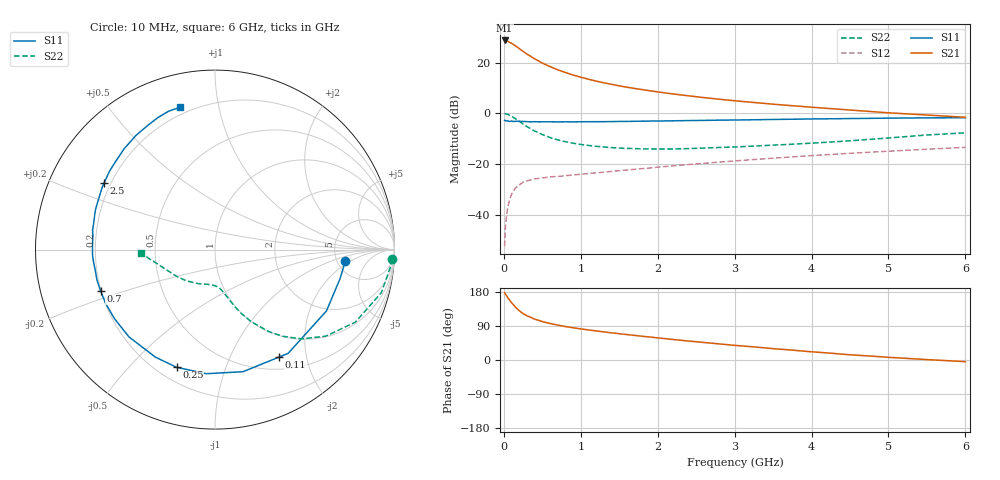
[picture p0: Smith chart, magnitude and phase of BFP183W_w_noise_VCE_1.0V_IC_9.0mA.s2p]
! Infineon Technologies  Discrete & RF Semiconductors
! BFP183W
! VCE =  1.0 V,  IC =  9.0 mA
! Common Emitter S-Parameters:  Jan 2017
# GHz  S  MA  R  50
!  f  S11  S21  S12  S22
! GHz  MAG  ANG  MAG  ANG  MAG  ANG  MAG  ANG
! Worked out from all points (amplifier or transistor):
!   77 points, 10 MHz to 6 GHz, reference 50 ohm
!   highest |S21| = 28.7 dB at 10 MHz (marker M1)
!   |S21| within 3 dB of that: start of sweep to 191 MHz
!   unconditionally stable (mu >= 1): 1.578 GHz to 4.961 GHz
!   at 130 MHz: K = 0.14, MSG = 28.7 dB, |S12| = -30.4 dB
!   at 2.2 GHz: K = 1.09, MAG = 12.4 dB, |S12| = -20.7 dB
!   at 6 GHz: K = 0.94, MSG = 5.9 dB, |S12| = -13.4 dB
!   lowest NFmin = 0.90 dB at 450 MHz
!   S11 on the Smith chart (normalised r, x): 10 MHz: 5.89, -1.66; 110 MHz: 0.67, -1.55; 250 MHz: 0.28, -0.69; 700 MHz: 0.20, -0.17; 2.5 GHz: 0.17, +0.27; 6 GHz: 0.16, +0.77
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0.01  0.7286 -5.2  27.25 178.0  0.0024 89.0  0.989 -3.0
0.02  0.7154 -13.0  26.95 174.0  0.0054 87.3  0.9809 -6.0
0.05  0.7088 -28.8  26.22 164.9  0.0137 77.2  0.9576 -14.5
0.1  0.7073 -54.8  24.05 151.0  0.0253 65.6  0.8798 -27.4
0.11  0.697 -59.2  23.46 148.9  0.0269 63.2  0.8583 -29.3
0.15  0.698 -77.1  21.44 139.5  0.0335 56.1  0.7831 -38.0
0.2  0.6931 -94.0  18.85 130.1  0.0387 49.8  0.6928 -45.9
0.25  0.6897 -108.1  16.61 122.5  0.0439 43.9  0.6129 -52.0
0.3  0.685 -119.0  14.68 116.7  0.0464 40.3  0.5456 -56.8
0.4  0.6829 -134.6  11.83 107.8  0.0508 36.6  0.4473 -63.5
0.5  0.6796 -145.5  9.781 101.5  0.053 34.6  0.3805 -67.9
0.6  0.6792 -153.7  8.324 96.3  0.0559 33.2  0.3335 -71.1
0.7  0.6777 -160.2  7.201 92.2  0.0567 33.8  0.2993 -73.4
0.9  0.6771 -170.3  5.674 85.1  0.0608 34.7  0.2571 -77.2
1.1  0.683 -177.6  4.691 79.4  0.0648 36.0  0.2324 -80.1
1.5  0.6909 170.8  3.472 69.4  0.0738 39.5  0.2059 -87.0
2.1  0.7066 156.8  2.518 56.3  0.0892 42.6  0.1976 -99.8
2.5  0.7208 148.9  2.122 48.2  0.1003 43.7  0.2037 -109.6
3.1  0.7395 138.5  1.711 37.1  0.118 43.5  0.2201 -123.8
4.1  0.7752 123.6  1.284 20.2  0.1494 41.4  0.2628 -146.4
5.1  0.8038 112.3  1.001 5.9  0.182 37.3  0.335 -166.9
6  0.8163 104.0  0.834 -4.5  0.2126 32.5  0.4115 -177.7
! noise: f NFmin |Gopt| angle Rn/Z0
0.45  0.9  0.11  89  0.11
0.9  0.95  0.18  132  0.1
1.9  1.46  0.37  179  0.07
2.4  1.71  0.44  -170  0.09
